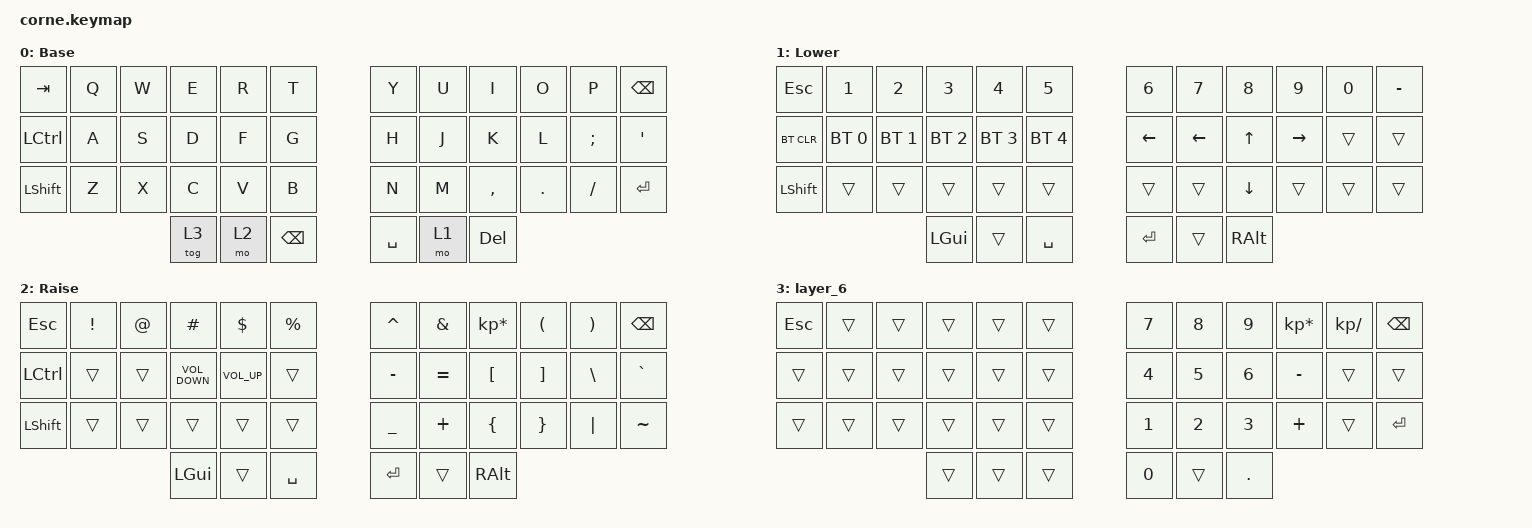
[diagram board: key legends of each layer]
/*
 * Copyright (c) 2020 The ZMK Contributors
 *
 * SPDX-License-Identifier: MIT
 */

#include <behaviors.dtsi>
#include <dt-bindings/zmk/bt.h>
#include <dt-bindings/zmk/keys.h>

/ {
    keymap {
        compatible = "zmk,keymap";

        default_layer {
            // -----------------------------------------------------------------------------------------
            // |  TAB |  Q  |  W  |  E  |  R  |  T  |   |  Y  |  U   |  I  |  O  |  P  | BKSP |
            // | CTRL |  A  |  S  |  D  |  F  |  G  |   |  H  |  J   |  K  |  L  |  ;  |  '   |
            // | SHFT |  Z  |  X  |  C  |  V  |  B  |   |  N  |  M   |  ,  |  .  |  /  | ESC  |
            //                    | GUI | LWR | SPC |   | ENT | RSE  | ALT |

            display-name = "Base";
            bindings = <
&kp TAB    &kp Q  &kp W  &kp E   &kp R  &kp T            &kp Y      &kp U  &kp I       &kp O    &kp P     &kp BACKSPACE
&kp LCTRL  &kp A  &kp S  &kp D   &kp F  &kp G            &kp H      &kp J  &kp K       &kp L    &kp SEMI  &kp SQT
&kp LSHFT  &kp Z  &kp X  &kp C   &kp V  &kp B            &kp N      &kp M  &kp COMMA   &kp DOT  &kp FSLH  &kp ENTER
                         &tog 3  &mo 2  &kp BACKSPACE    &kp SPACE  &mo 1  &kp DELETE
            >;
        };

        lower_layer {
            // -----------------------------------------------------------------------------------------
            // |  TAB |  1  |  2  |  3  |  4  |  5  |   |  6  |  7  |  8  |  9  |  0  | BKSP |
            // | BTCLR| BT1 | BT2 | BT3 | BT4 | BT5 |   | LFT | DWN |  UP | RGT |     |      |
            // | SHFT |     |     |     |     |     |   |     |     |     |     |     |      |
            //                    | GUI |     | SPC |   | ENT |     | ALT |

            display-name = "Lower";
            bindings = <
&kp ESCAPE  &kp N1        &kp N2        &kp N3        &kp N4        &kp N5          &kp N6    &kp N7    &kp N8    &kp N9     &kp N0  &kp MINUS
&bt BT_CLR  &bt BT_SEL 0  &bt BT_SEL 1  &bt BT_SEL 2  &bt BT_SEL 3  &bt BT_SEL 4    &kp LEFT  &kp LEFT  &kp UP    &kp RIGHT  &trans  &trans
&kp LSHFT   &trans        &trans        &trans        &trans        &trans          &trans    &trans    &kp DOWN  &trans     &trans  &trans
                                        &kp LGUI      &trans        &kp SPACE       &kp RET   &trans    &kp RALT
            >;
        };

        raise_layer {
            // -----------------------------------------------------------------------------------------
            // |  TAB |  !  |  @  |  #  |  $  |  %  |   |  ^  |  &  |  *  |  (  |  )  | BKSP |
            // | CTRL |     |     |     |     |     |   |  -  |  =  |  [  |  ]  |  \  |  `   |
            // | SHFT |     |     |     |     |     |   |  _  |  +  |  {  |  }  | "|" |  ~   |
            //                    | GUI |     | SPC |   | ENT |     | ALT |

            display-name = "Raise";
            bindings = <
&kp ESCAPE  &kp EXCL  &kp AT  &kp HASH           &kp DLLR         &kp PRCNT    &kp CARET  &kp AMPS   &kp KP_MULTIPLY  &kp LPAR  &kp RPAR  &kp BSPC
&kp LCTRL   &trans    &trans  &kp C_VOLUME_DOWN  &kp C_VOLUME_UP  &trans       &kp MINUS  &kp EQUAL  &kp LBKT         &kp RBKT  &kp BSLH  &kp GRAVE
&kp LSHFT   &trans    &trans  &trans             &trans           &trans       &kp UNDER  &kp PLUS   &kp LBRC         &kp RBRC  &kp PIPE  &kp TILDE
                              &kp LGUI           &trans           &kp SPACE    &kp RET    &trans     &kp RALT
            >;
        };

        layer_6 {
            bindings = <
&kp ESCAPE  &trans  &trans  &trans  &trans  &trans    &kp N7        &kp N8        &kp N9        &kp KP_MULTIPLY  &kp KP_DIVIDE  &kp BACKSPACE
&trans      &trans  &trans  &trans  &trans  &trans    &kp NUMBER_4  &kp N5        &kp NUMBER_6  &kp MINUS        &trans         &trans
&trans      &trans  &trans  &trans  &trans  &trans    &kp NUMBER_1  &kp NUMBER_2  &kp NUMBER_3  &kp PLUS         &trans         &kp ENTER
                            &trans  &trans  &trans    &kp N0        &trans        &kp PERIOD
            >;
        };
    };
};
